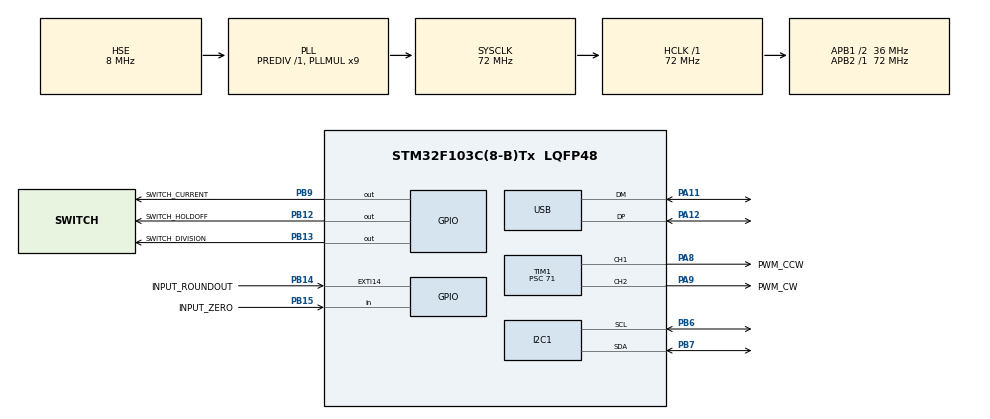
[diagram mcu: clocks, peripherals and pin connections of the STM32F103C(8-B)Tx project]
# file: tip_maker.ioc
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I2C1.I2C_Mode=I2C_Standard
Mcu.Family=STM32F1
Mcu.Name=STM32F103C(8-B)Tx
Mcu.Package=LQFP48
NVIC.EXTI15_10_IRQn=true\:2\:0\:true\:false\:true\:true\:true\:true
NVIC.PriorityGroup=NVIC_PRIORITYGROUP_4
NVIC.TIM1_CC_IRQn=true\:1\:0\:true\:false\:true\:true\:true\:true
NVIC.TIM1_UP_IRQn=true\:1\:0\:true\:false\:true\:true\:true\:true
NVIC.USB_LP_CAN1_RX0_IRQn=true\:0\:0\:false\:false\:true\:false\:true\:true
PA11.Mode=Device
PA11.Signal=USB_DM
PA12.Mode=Device
PA12.Signal=USB_DP
PA13.Mode=Serial_Wire
PA13.Signal=SYS_JTMS-SWDIO
PA14.Mode=Serial_Wire
PA14.Signal=SYS_JTCK-SWCLK
PA8.GPIO_Label=PWM_CCW
PA8.Signal=S_TIM1_CH1
PA9.GPIO_Label=PWM_CW
PA9.Signal=S_TIM1_CH2
PB12.GPIO_Label=SWITCH_HOLDOFF
PB12.Signal=GPIO_Output
PB13.GPIO_Label=SWITCH_DIVISION
PB13.Signal=GPIO_Output
PB14.GPIO_Label=INPUT_ROUNDOUT
PB14.GPIO_PuPd=GPIO_PULLDOWN
PB14.Signal=GPXTI14
PB15.GPIO_Label=INPUT_ZERO
PB15.GPIO_PuPd=GPIO_PULLDOWN
PB15.Signal=GPIO_Input
PB6.Mode=I2C
PB6.Signal=I2C1_SCL
PB7.Mode=I2C
PB7.Signal=I2C1_SDA
PB9.GPIO_Label=SWITCH_CURRENT
PB9.Signal=GPIO_Output
PD0-OSC_IN.Mode=HSE-External-Oscillator
PD0-OSC_IN.Signal=RCC_OSC_IN
PD1-OSC_OUT.Mode=HSE-External-Oscillator
PD1-OSC_OUT.Signal=RCC_OSC_OUT
ProjectManager.HeapSize=0x200
ProjectManager.StackSize=0x400
ProjectManager.TargetToolchain=Makefile
RCC.AHBFreq_Value=72000000
RCC.APB1CLKDivider=RCC_HCLK_DIV2
RCC.APB1Freq_Value=36000000
RCC.APB1TimFreq_Value=72000000
RCC.APB2Freq_Value=72000000
RCC.APB2TimFreq_Value=72000000
RCC.HCLKFreq_Value=72000000
RCC.PLLMUL=RCC_PLL_MUL9
RCC.PLLSourceVirtual=RCC_PLLSOURCE_HSE
RCC.SYSCLKFreq_VALUE=72000000
RCC.SYSCLKSource=RCC_SYSCLKSOURCE_PLLCLK
RCC.USBFreq_Value=48000000
RCC.USBPrescaler=RCC_USBCLKSOURCE_PLL_DIV1_5
SH.S_TIM1_CH1.0=TIM1_CH1,PWM Generation1 CH1
SH.S_TIM1_CH2.0=TIM1_CH2,PWM Generation2 CH2
TIM1.AutoReloadPreload=TIM_AUTORELOAD_PRELOAD_ENABLE
TIM1.Channel-PWM\ Generation1\ CH1=TIM_CHANNEL_1
TIM1.Channel-PWM\ Generation2\ CH2=TIM_CHANNEL_2
TIM1.Period=999
TIM1.Prescaler=71
TIM1.Pulse-PWM\ Generation1\ CH1=500
TIM1.Pulse-PWM\ Generation2\ CH2=500
USB_DEVICE.CLASS_NAME_FS=CDC
USB_DEVICE.VirtualMode=Cdc
USB_DEVICE.VirtualModeFS=Cdc_FS
VP_TIM1_VS_ClockSourceINT.Mode=Internal
VP_USB_DEVICE_VS_USB_DEVICE_CDC_FS.Mode=CDC_FS
board=custom

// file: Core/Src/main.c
/* USER CODE BEGIN Header */
/**
  ******************************************************************************
  * @file           : main.c
  * @brief          : Main program body
  ******************************************************************************
  * @attention
  *
  * Copyright (c) 2025 STMicroelectronics.
  * All rights reserved.
  *
  * This software is licensed under terms that can be found in the LICENSE file
  * in the root directory of this software component.
  * If no LICENSE file comes with this software, it is provided AS-IS.
  *
  ******************************************************************************
  */
/* USER CODE END Header */
#include "main.h"
#include "usb_device.h"

/* USER CODE BEGIN Includes */
#include "system_state.h"
#include "stepper_motor.h"
#include "ina236.h"
#include "command_parser.h"
#include "sequence_controller.h"
#include "eeprom_emulation.h"
/* USER CODE END Includes */

I2C_HandleTypeDef hi2c1;

TIM_HandleTypeDef htim1;

void SystemClock_Config(void);
static void MX_GPIO_Init(void);
static void MX_I2C1_Init(void);
static void MX_TIM1_Init(void);

int main(void)
{

  /* MCU Configuration--------------------------------------------------------*/

  /* Reset of all peripherals, Initializes the Flash interface and the Systick. */
  HAL_Init();

  /* Configure the system clock */
  SystemClock_Config();

  /* Initialize all configured peripherals */
  MX_GPIO_Init();
  MX_I2C1_Init();
  MX_TIM1_Init();
  MX_USB_DEVICE_Init();
  /* USER CODE BEGIN 2 */
  // 初始化EEPROM模拟
  EE_Init();

  // 初始化系统状态
  SystemState_Init();

  // 初始化模块
  StepperMotor_Init();
  INA236_Init();
  CommandParser_Init();
  SequenceController_Init();
  /* USER CODE END 2 */

  /* Infinite loop */
  while (1)
  {

    /* USER CODE BEGIN 3 */
    // 读取并更新电流值
    int16_t current;
    if (INA236_ReadCurrent(&current)) {
        SystemState_UpdateCurrent(current);
    }

    // 更新输入状态
    SystemState_ZeroPoint();

    // 处理电机控制
    StepperMotor_Process();

    // 处理序列控制器
    SequenceController_Process();

    // 处理调试输出
    static uint32_t last_debug_time = 0;
    uint32_t current_time = HAL_GetTick();

    if (g_system_state.debug_enabled &&
        (current_time - last_debug_time >= 1000)) {
        last_debug_time = current_time;

        char debug_cmd[32];
        snprintf(debug_cmd, sizeof(debug_cmd), "STATUS");
        CommandParser_Process(debug_cmd);
    }
  }
  /* USER CODE END 3 */
}

void SystemClock_Config(void)
{
  RCC_OscInitTypeDef RCC_OscInitStruct = {0};
  RCC_ClkInitTypeDef RCC_ClkInitStruct = {0};
  RCC_PeriphCLKInitTypeDef PeriphClkInit = {0};

  /** Initializes the RCC Oscillators according to the specified parameters
  * in the RCC_OscInitTypeDef structure.
  */
  RCC_OscInitStruct.OscillatorType = RCC_OSCILLATORTYPE_HSE;
  RCC_OscInitStruct.HSEState = RCC_HSE_ON;
  RCC_OscInitStruct.HSEPredivValue = RCC_HSE_PREDIV_DIV1;
  RCC_OscInitStruct.HSIState = RCC_HSI_ON;
  RCC_OscInitStruct.PLL.PLLState = RCC_PLL_ON;
  RCC_OscInitStruct.PLL.PLLSource = RCC_PLLSOURCE_HSE;
  RCC_OscInitStruct.PLL.PLLMUL = RCC_PLL_MUL9;
  if (HAL_RCC_OscConfig(&RCC_OscInitStruct) != HAL_OK)
  {
    Error_Handler();
  }

  /** Initializes the CPU, AHB and APB buses clocks
  */
  RCC_ClkInitStruct.ClockType = RCC_CLOCKTYPE_HCLK|RCC_CLOCKTYPE_SYSCLK
                              |RCC_CLOCKTYPE_PCLK1|RCC_CLOCKTYPE_PCLK2;
  RCC_ClkInitStruct.SYSCLKSource = RCC_SYSCLKSOURCE_PLLCLK;
  RCC_ClkInitStruct.AHBCLKDivider = RCC_SYSCLK_DIV1;
  RCC_ClkInitStruct.APB1CLKDivider = RCC_HCLK_DIV2;
  RCC_ClkInitStruct.APB2CLKDivider = RCC_HCLK_DIV1;

  if (HAL_RCC_ClockConfig(&RCC_ClkInitStruct, FLASH_LATENCY_2) != HAL_OK)
  {
    Error_Handler();
  }
  PeriphClkInit.PeriphClockSelection = RCC_PERIPHCLK_USB;
  PeriphClkInit.UsbClockSelection = RCC_USBCLKSOURCE_PLL_DIV1_5;
  if (HAL_RCCEx_PeriphCLKConfig(&PeriphClkInit) != HAL_OK)
  {
    Error_Handler();
  }
}

static void MX_I2C1_Init(void)
{

  hi2c1.Instance = I2C1;
  hi2c1.Init.ClockSpeed = 100000;
  hi2c1.Init.DutyCycle = I2C_DUTYCYCLE_2;
  hi2c1.Init.OwnAddress1 = 0;
  hi2c1.Init.AddressingMode = I2C_ADDRESSINGMODE_7BIT;
  hi2c1.Init.DualAddressMode = I2C_DUALADDRESS_DISABLE;
  hi2c1.Init.OwnAddress2 = 0;
  hi2c1.Init.GeneralCallMode = I2C_GENERALCALL_DISABLE;
  hi2c1.Init.NoStretchMode = I2C_NOSTRETCH_DISABLE;
  if (HAL_I2C_Init(&hi2c1) != HAL_OK)
  {
    Error_Handler();
  }

}

static void MX_TIM1_Init(void)
{

  TIM_ClockConfigTypeDef sClockSourceConfig = {0};
  TIM_MasterConfigTypeDef sMasterConfig = {0};
  TIM_OC_InitTypeDef sConfigOC = {0};
  TIM_BreakDeadTimeConfigTypeDef sBreakDeadTimeConfig = {0};

  htim1.Instance = TIM1;
  htim1.Init.Prescaler = 71;
  htim1.Init.CounterMode = TIM_COUNTERMODE_UP;
  htim1.Init.Period = 999;
  htim1.Init.ClockDivision = TIM_CLOCKDIVISION_DIV1;
  htim1.Init.RepetitionCounter = 0;
  htim1.Init.AutoReloadPreload = TIM_AUTORELOAD_PRELOAD_ENABLE;
  if (HAL_TIM_Base_Init(&htim1) != HAL_OK)
  {
    Error_Handler();
  }
  sClockSourceConfig.ClockSource = TIM_CLOCKSOURCE_INTERNAL;
  if (HAL_TIM_ConfigClockSource(&htim1, &sClockSourceConfig) != HAL_OK)
  {
    Error_Handler();
  }
  if (HAL_TIM_PWM_Init(&htim1) != HAL_OK)
  {
    Error_Handler();
  }
  sMasterConfig.MasterOutputTrigger = TIM_TRGO_RESET;
  sMasterConfig.MasterSlaveMode = TIM_MASTERSLAVEMODE_DISABLE;
  if (HAL_TIMEx_MasterConfigSynchronization(&htim1, &sMasterConfig) != HAL_OK)
  {
    Error_Handler();
  }
  sConfigOC.OCMode = TIM_OCMODE_PWM1;
  sConfigOC.Pulse = 500;
  sConfigOC.OCPolarity = TIM_OCPOLARITY_HIGH;
  sConfigOC.OCNPolarity = TIM_OCNPOLARITY_HIGH;
  sConfigOC.OCFastMode = TIM_OCFAST_DISABLE;
  sConfigOC.OCIdleState = TIM_OCIDLESTATE_RESET;
  sConfigOC.OCNIdleState = TIM_OCNIDLESTATE_RESET;
  if (HAL_TIM_PWM_ConfigChannel(&htim1, &sConfigOC, TIM_CHANNEL_1) != HAL_OK)
  {
    Error_Handler();
  }
  if (HAL_TIM_PWM_ConfigChannel(&htim1, &sConfigOC, TIM_CHANNEL_2) != HAL_OK)
  {
    Error_Handler();
  }
  sBreakDeadTimeConfig.OffStateRunMode = TIM_OSSR_DISABLE;
  sBreakDeadTimeConfig.OffStateIDLEMode = TIM_OSSI_DISABLE;
  sBreakDeadTimeConfig.LockLevel = TIM_LOCKLEVEL_OFF;
  sBreakDeadTimeConfig.DeadTime = 0;
  sBreakDeadTimeConfig.BreakState = TIM_BREAK_DISABLE;
  sBreakDeadTimeConfig.BreakPolarity = TIM_BREAKPOLARITY_HIGH;
  sBreakDeadTimeConfig.AutomaticOutput = TIM_AUTOMATICOUTPUT_DISABLE;
  if (HAL_TIMEx_ConfigBreakDeadTime(&htim1, &sBreakDeadTimeConfig) != HAL_OK)
  {
    Error_Handler();
  }
  HAL_TIM_MspPostInit(&htim1);

}

static void MX_GPIO_Init(void)
{
  GPIO_InitTypeDef GPIO_InitStruct = {0};

  /* GPIO Ports Clock Enable */
  __HAL_RCC_GPIOD_CLK_ENABLE();
  __HAL_RCC_GPIOB_CLK_ENABLE();
  __HAL_RCC_GPIOA_CLK_ENABLE();

  /*Configure GPIO pin Output Level */
  HAL_GPIO_WritePin(GPIOB, SWITCH_HOLDOFF_Pin|SWITCH_DIVISION_Pin|SWITCH_CURRENT_Pin, GPIO_PIN_RESET);

  /*Configure GPIO pins : SWITCH_HOLDOFF_Pin SWITCH_DIVISION_Pin SWITCH_CURRENT_Pin */
  GPIO_InitStruct.Pin = SWITCH_HOLDOFF_Pin|SWITCH_DIVISION_Pin|SWITCH_CURRENT_Pin;
  GPIO_InitStruct.Mode = GPIO_MODE_OUTPUT_PP;
  GPIO_InitStruct.Pull = GPIO_NOPULL;
  GPIO_InitStruct.Speed = GPIO_SPEED_FREQ_LOW;
  HAL_GPIO_Init(GPIOB, &GPIO_InitStruct);

  /*Configure GPIO pin : INPUT_ROUNDOUT_Pin */
  GPIO_InitStruct.Pin = INPUT_ROUNDOUT_Pin;
  GPIO_InitStruct.Mode = GPIO_MODE_IT_RISING;
  GPIO_InitStruct.Pull = GPIO_PULLDOWN;
  HAL_GPIO_Init(INPUT_ROUNDOUT_GPIO_Port, &GPIO_InitStruct);

  /*Configure GPIO pin : INPUT_ZERO_Pin */
  GPIO_InitStruct.Pin = INPUT_ZERO_Pin;
  GPIO_InitStruct.Mode = GPIO_MODE_INPUT;
  GPIO_InitStruct.Pull = GPIO_PULLDOWN;
  HAL_GPIO_Init(INPUT_ZERO_GPIO_Port, &GPIO_InitStruct);

  /* EXTI interrupt init*/
  HAL_NVIC_SetPriority(EXTI15_10_IRQn, 2, 0);
  HAL_NVIC_EnableIRQ(EXTI15_10_IRQn);

}

void Error_Handler(void)
{
  __disable_irq();
  while (1)
  {
  }
}
